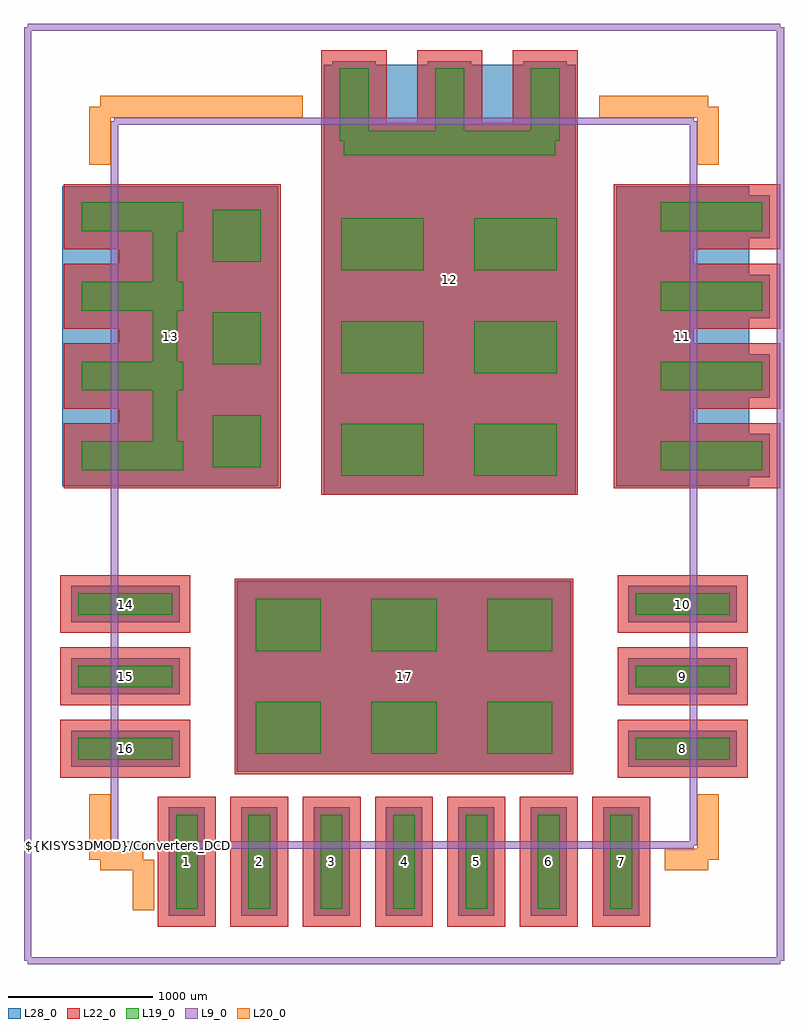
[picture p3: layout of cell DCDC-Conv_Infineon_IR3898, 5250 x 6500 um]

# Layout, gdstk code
import gdstk
lib = gdstk.Library(unit=1e-6, precision=1e-09)
def R(c, l, rs):  # rectangles x0, y0, x1, y1
    for r in rs: c.add(gdstk.rectangle(r[:2], r[2:], *l))
def A(c, l, x, y, w, h, nx, ny, dx, dy):  # array of equal rectangles
    R(c, l, [(x+i*dx, y+j*dy, x+i*dx+w, y+j*dy+h) for i in range(nx) for j in range(ny)])
L9_0 = (9, 0)
L19_0 = (19, 0)
L20_0 = (20, 0)
L22_0 = (22, 0)
L28_0 = (28, 0)

dcdc_conv_infineon_ir389 = lib.new_cell('DCDC-Conv_Infineon_IR3898')
A(dcdc_conv_infineon_ir389, L19_0, -1675, -2940, 150, 650, 7, 1, 500, 0)
A(dcdc_conv_infineon_ir389, L19_0, -2350, -1910, 650, 150, 1, 3, 0, 500)
A(dcdc_conv_infineon_ir389, L19_0, 1500, -1910, 650, 150, 1, 3, 0, 500)
A(dcdc_conv_infineon_ir389, L19_0, -2325, 90, 700, 200, 1, 4, 0, 550)
A(dcdc_conv_infineon_ir389, L19_0, 1675, 90, 700, 200, 1, 4, 0, 550)
A(dcdc_conv_infineon_ir389, L19_0, -545, 2365, 200, 500, 3, 1, 660, 0)
R(dcdc_conv_infineon_ir389, L19_0, [(-1125,-1870,-675,-1510), (-1125,-1870,-675,-1510), (-325,-1870,125,-1510), (-325,-1870,125,-1510), (475,-1870,925,-1510), (475,-1870,925,-1510), (-1125,-1160,-675,-800), (-1125,-1160,-675,-800), (-325,-1160,125,-800), (-325,-1160,125,-800), (475,-1160,925,-800), (475,-1160,925,-800), (-535,50,35,410), (-535,50,35,410), (385,50,955,410), (385,50,955,410), (-1420,110,-1090,470), (-1420,110,-1090,470), (-1835,120,-1665,1910), (-535,760,35,1120), (-535,760,35,1120), (385,760,955,1120), (385,760,955,1120), (-1420,820,-1090,1180), (-1420,820,-1090,1180), (-535,1470,35,1830), (-535,1470,35,1830), (385,1470,955,1830), (385,1470,955,1830), (-1420,1530,-1090,1890), (-1420,1530,-1090,1890), (-515,2265,945,2435)])
A(dcdc_conv_infineon_ir389, L22_0, -1800, -3065, 400, 900, 7, 1, 500, 0)
A(dcdc_conv_infineon_ir389, L22_0, -2475, -2035, 900, 400, 1, 3, 0, 500)
A(dcdc_conv_infineon_ir389, L22_0, 1375, -2035, 900, 400, 1, 3, 0, 500)
A(dcdc_conv_infineon_ir389, L22_0, -2450, -35, 950, 450, 1, 4, 0, 550)
A(dcdc_conv_infineon_ir389, L22_0, 1550, -35, 950, 450, 1, 4, 0, 550)
A(dcdc_conv_infineon_ir389, L22_0, -670, 2240, 450, 750, 3, 1, 660, 0)
R(dcdc_conv_infineon_ir389, L22_0, [(-1270,-2010,1070,-660), (-670,-80,1100,2490), (-2072,-35,-952,2065), (1350,-35,1900,2065)])
A(dcdc_conv_infineon_ir389, L28_0, -1725, -2990, 250, 750, 7, 1, 500, 0)
A(dcdc_conv_infineon_ir389, L28_0, -2400, -1960, 750, 250, 1, 3, 0, 500)
A(dcdc_conv_infineon_ir389, L28_0, 1450, -1960, 750, 250, 1, 3, 0, 500)
A(dcdc_conv_infineon_ir389, L28_0, -2375, 40, 800, 300, 1, 4, 0, 550)
A(dcdc_conv_infineon_ir389, L28_0, 1625, 40, 800, 300, 1, 4, 0, 550)
A(dcdc_conv_infineon_ir389, L28_0, -595, 2315, 300, 600, 3, 1, 660, 0)
R(dcdc_conv_infineon_ir389, L28_0, [(-1255,-1995,1055,-675), (-1195,-1935,995,-735), (-1175,-1920,-625,-1460), (-1175,-1920,-625,-1460), (-375,-1920,175,-1460), (-375,-1920,175,-1460), (425,-1920,975,-1460), (425,-1920,975,-1460), (-1175,-1210,-625,-750), (-1175,-1210,-625,-750), (-375,-1210,175,-750), (-375,-1210,175,-750), (425,-1210,975,-750), (425,-1210,975,-750), (-655,-80,1085,2890), (-2460,-20,-970,2050), (1365,-20,2285,2050), (-595,-5,1025,2415), (-585,0,85,460), (-585,0,85,460), (335,0,1005,460), (335,0,1005,460), (-1997,40,-1027,1990), (1425,40,1825,1990), (-1470,60,-1040,520), (-1470,60,-1040,520), (-1885,70,-1615,1960), (-585,710,85,1170), (-585,710,85,1170), (335,710,1005,1170), (335,710,1005,1170), (-1470,770,-1040,1230), (-1470,770,-1040,1230), (-585,1420,85,1880), (-585,1420,85,1880), (335,1420,1005,1880), (335,1420,1005,1880), (-1470,1480,-1040,1940), (-1470,1480,-1040,1940), (-565,2215,995,2485)])
dcdc_conv_infineon_ir389.add(gdstk.FlexPath([(-1900,-2600),(-1900,-2950)], 149.998, ends="flush", simple_path=True, layer=20, datatype=0))  # L20_0
dcdc_conv_infineon_ir389.add(gdstk.FlexPath([(2000,-2150),(2000,-2600)], 149.998, ends="flush", simple_path=True, layer=20, datatype=0))  # L20_0
dcdc_conv_infineon_ir389.add(gdstk.FlexPath([(1700,-2600),(2000,-2600)], 149.998, ends="flush", simple_path=True, layer=20, datatype=0))  # L20_0
dcdc_conv_infineon_ir389.add(gdstk.FlexPath([(-2200,-2600),(-1900,-2600)], 149.998, ends="flush", simple_path=True, layer=20, datatype=0))  # L20_0
dcdc_conv_infineon_ir389.add(gdstk.FlexPath([(-2200,-2150),(-2200,-2600)], 149.998, ends="flush", simple_path=True, layer=20, datatype=0))  # L20_0
dcdc_conv_infineon_ir389.add(gdstk.FlexPath([(2000,2600),(2000,2200)], 149.998, ends="flush", simple_path=True, layer=20, datatype=0))  # L20_0
dcdc_conv_infineon_ir389.add(gdstk.FlexPath([(2000,2600),(1250,2600)], 149.998, ends="flush", simple_path=True, layer=20, datatype=0))  # L20_0
dcdc_conv_infineon_ir389.add(gdstk.FlexPath([(-2200,2600),(-2200,2200)], 149.998, ends="flush", simple_path=True, layer=20, datatype=0))  # L20_0
dcdc_conv_infineon_ir389.add(gdstk.FlexPath([(1900,2500),(1900,-2500)], 50, ends="flush", simple_path=True, layer=9, datatype=0))  # L9_0
dcdc_conv_infineon_ir389.add(gdstk.FlexPath([(-2100,2500),(-2100,-2500)], 50, ends="flush", simple_path=True, layer=9, datatype=0))  # L9_0
dcdc_conv_infineon_ir389.add(gdstk.FlexPath([(-2100,-2500),(1900,-2500)], 50, ends="flush", simple_path=True, layer=9, datatype=0))  # L9_0
dcdc_conv_infineon_ir389.add(gdstk.FlexPath([(-2700,3150),(2500,3150)], 50, ends="flush", simple_path=True, layer=9, datatype=0))  # L9_0
dcdc_conv_infineon_ir389.add(gdstk.FlexPath([(2500,3150),(2500,-3300)], 50, ends="flush", simple_path=True, layer=9, datatype=0))  # L9_0
dcdc_conv_infineon_ir389.add(gdstk.FlexPath([(2500,-3300),(-2700,-3300)], 50, ends="flush", simple_path=True, layer=9, datatype=0))  # L9_0
dcdc_conv_infineon_ir389.add(gdstk.FlexPath([(-2700,-3300),(-2700,3150)], 50, ends="flush", simple_path=True, layer=9, datatype=0))  # L9_0
dcdc_conv_infineon_ir389.add(gdstk.FlexPath([(-2100,2500),(1900,2500)], 50, ends="flush", simple_path=True, layer=9, datatype=0))  # L9_0
dcdc_conv_infineon_ir389.add(gdstk.FlexPath([(-800,2600),(-2200,2600)], 149.998, ends="flush", simple_path=True, layer=20, datatype=0))  # L20_0
dcdc_conv_infineon_ir389.add(gdstk.Label('${KISYS3DMOD}/Converters_DCDC_ACDC.3dshapes/DCDC-Conv_Infineon_IR3898.wrl', (-2000.25,-2500.63), layer=12, texttype=0))
dcdc_conv_infineon_ir389.add(gdstk.Label('11', (1825,1015), layer=28, texttype=0))
dcdc_conv_infineon_ir389.add(gdstk.Label('12', (215,1405), layer=28, texttype=0))
dcdc_conv_infineon_ir389.add(gdstk.Label('13', (-1715,1015), layer=28, texttype=0))
dcdc_conv_infineon_ir389.add(gdstk.Label('17', (-100,-1335), layer=28, texttype=0))
dcdc_conv_infineon_ir389.add(gdstk.Label('10', (1825,-835), layer=28, texttype=0))
dcdc_conv_infineon_ir389.add(gdstk.Label('9', (1825,-1335), layer=28, texttype=0))
dcdc_conv_infineon_ir389.add(gdstk.Label('14', (-2025,-835), layer=28, texttype=0))
dcdc_conv_infineon_ir389.add(gdstk.Label('15', (-2025,-1335), layer=28, texttype=0))
dcdc_conv_infineon_ir389.add(gdstk.Label('16', (-2025,-1835), layer=28, texttype=0))
dcdc_conv_infineon_ir389.add(gdstk.Label('8', (1825,-1835), layer=28, texttype=0))
dcdc_conv_infineon_ir389.add(gdstk.Label('7', (1400,-2615), layer=28, texttype=0))
dcdc_conv_infineon_ir389.add(gdstk.Label('6', (900,-2615), layer=28, texttype=0))
dcdc_conv_infineon_ir389.add(gdstk.Label('5', (400,-2615), layer=28, texttype=0))
dcdc_conv_infineon_ir389.add(gdstk.Label('4', (-100,-2615), layer=28, texttype=0))
dcdc_conv_infineon_ir389.add(gdstk.Label('3', (-600,-2615), layer=28, texttype=0))
dcdc_conv_infineon_ir389.add(gdstk.Label('2', (-1100,-2615), layer=28, texttype=0))
dcdc_conv_infineon_ir389.add(gdstk.Label('1', (-1600,-2615), layer=28, texttype=0))
dcdc_conv_infineon_ir389.add(gdstk.Label('type', (-100,-3950), layer=9, texttype=0))
dcdc_conv_infineon_ir389.add(gdstk.Label('devicename', (-100,3700), layer=9, texttype=0))

lib.write_gds('DCDC-Conv_Infineon_IR3898.gds')
